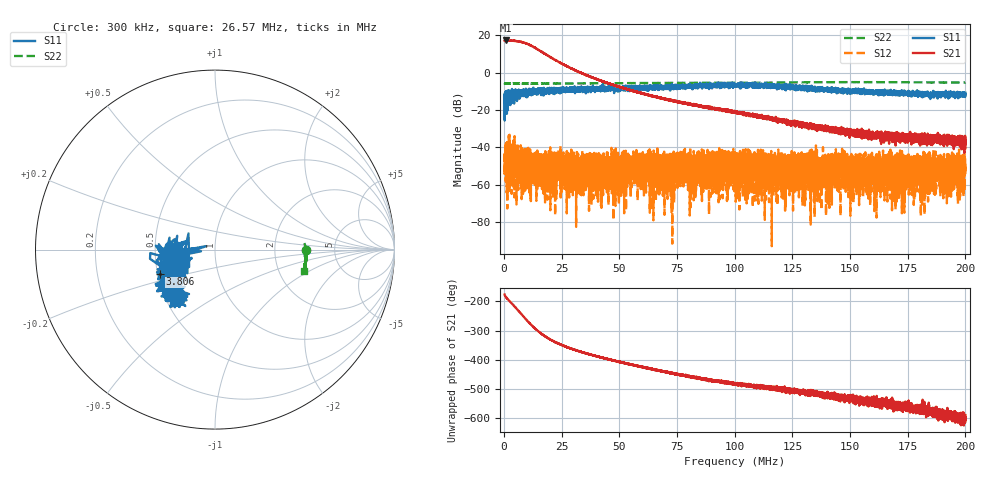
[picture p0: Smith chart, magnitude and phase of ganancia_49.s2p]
# Hz S DB R 50
! CMT, M5065, 19127446, 24.2.4/2
! Date: 11/8/2024 5:21:54 PM
! Data: Format (Calibration Info)
! Freq	S11:dB/Ang(F2)	S21:dB/Ang(F2)	S12:dB/Ang(F2)	S22:dB/Ang(F2)
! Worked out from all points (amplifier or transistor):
!   9000 points, 300 kHz to 200 MHz, reference 50 ohm
!   highest |S21| = 17.3 dB at 699.4 kHz (marker M1)
!   |S21| within 3 dB of that: start of sweep to 12.08 MHz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
!   unconditionally stable (mu >= 1): start of sweep to end of sweep
!   at 33.59 MHz: K = 57.47, MAG = 1.9 dB, |S12| = -45.2 dB
!   at 100.2 MHz: K = 578.35, MAG = -18.3 dB, |S12| = -45.5 dB
!   at 200 MHz: K = 15277.23, MAG = -38.6 dB, |S12| = -53.0 dB
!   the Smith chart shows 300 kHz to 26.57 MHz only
!   S11 on the Smith chart (normalised r, x): 300 kHz: 0.59, +0.03; 3.806 MHz: 0.51, -0.16; 26.57 MHz: 0.54, -0.36
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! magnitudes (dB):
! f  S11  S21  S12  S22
! 300 kHz  -11.8  17.2  -46.1  -5.9
! 699.4 kHz  -19.0  17.3  -42.5  -5.9
! 3.806 MHz  -9.5  17.1  -47.3  -5.9
! 11.55 MHz  -10.1  14.6  -52.9  -5.9
! 13.99 MHz  -9.5  13.0  -44.8  -5.9
! 17.96 MHz  -9.5  10.0  -42.3  -5.8
! 26.57 MHz  -8.6  3.9  -50.4  -5.8
! 33.59 MHz  -8.2  -0.2  -45.2  -5.8
! 66.87 MHz  -8.3  -13.4  -50.7  -5.5
! 100.2 MHz  -6.7  -20.8  -45.5  -5.4
! 108.9 MHz  -6.3  -22.8  -44.7  -5.4
! 110.8 MHz  -6.8  -23.4  -47.0  -5.4
! 117.1 MHz  -6.6  -25.0  -45.1  -5.3
! 122.8 MHz  -7.0  -26.6  -54.1  -5.3
! 124.3 MHz  -7.4  -27.3  -50.1  -5.3
! 133.4 MHz  -9.5  -28.3  -56.8  -5.2
! 147 MHz  -9.2  -31.4  -52.1  -5.1
! 153.8 MHz  -9.8  -32.2  -46.0  -5.1
! 155.7 MHz  -9.7  -32.5  -56.1  -5.1
! 166.7 MHz  -10.3  -34.4  -49.0  -5.1
! 197.2 MHz  -11.8  -35.0  -59.6  -5.3
! 200 MHz  -10.8  -40.5  -53.0  -5.3
